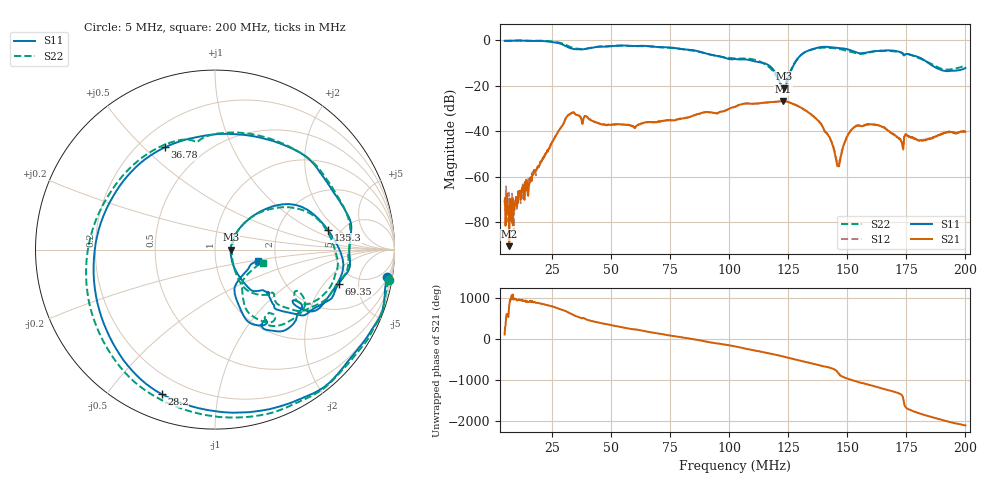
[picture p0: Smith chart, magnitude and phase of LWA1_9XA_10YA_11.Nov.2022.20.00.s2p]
!Keysight Technologies N9917A: A.12.46
!Date: Friday, 11 November 2022 20:00:22
!Timezone: (UTC) Coordinated Universal Time
!Model: N9917A
!Serial: MY56071016
!GPS Latitude:
!GPS Longitude:
!GPS TimeStamp: 0001-01-01 00:00:00Z
!GPS Seconds Since Last Read: 0
!CHECKSUM:1163544065
!Correction: S11(ON U)S21(ON U)S12(ON U)S22(ON U)
!S2P File: Measurements:S11,S21,S12,S22:
# Hz S DB R 50
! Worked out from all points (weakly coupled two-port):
!   1001 points, 5 MHz to 200 MHz, reference 50 ohm
!   highest |S21| = -26.82 dB at 123 MHz (marker M1); lowest = -90.6 dB at 6.95 MHz (marker M2)
!   lowest |S11| = -21.1 dB at 123.2 MHz (marker M3), VSWR 1.19, Z = 59.6 - j0.132 ohm
!   |S11| at or under -10 dB: 114.5 MHz to 127.8 MHz (13.25 MHz wide, 10.9 % of centre); 184.4 MHz to end of sweep
!   |S22| runs from -20.5 to -0.1 dB; largest |S21 - S12| = 0.00074
!   S11 on the Smith chart (normalised r, x): 5 MHz: 2, -12; 28.2 MHz: 0.11, -0.69; 36.78 MHz: 0.30, +0.58; 69.35 MHz: 3.68, -2.86; 135.3 MHz: 3.97, +1.46; 200 MHz: 1.61, -0.23
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5000000  -0.23 -9.2  -70.74 101.5  -72.51 -125.1  -0.14 -10.0
6950000  -0.22 -13.8  -90.62 94.8  -73.66 -157.1  -0.16 -14.2
2.0015e7  -0.19 -51.7  -53.85 137.9  -53.56 135.8  -0.15 -51.5
2.8205e7  -1.33 -110.3  -39.34 6.9  -39.30 7.0  -1.02 -109.8
3.2495e7  -3.32 -172.4  -32.62 -96.6  -32.57 -96.6  -2.79 -171.9
3.6785e7  -3.95 116.1  -33.39 154.4  -33.38 154.2  -3.76 115.8
3.7565e7  -3.96 105.3  -35.02 134.6  -35.10 134.8  -3.99 103.9
4.9265e7  -2.68 25.6  -37.16 -20.4  -37.07 -18.9  -2.61 26.9
6.935e7  -2.92 -15.4  -35.97 131.7  -36.07 131.8  -2.95 -14.9
7.013e7  -2.97 -16.8  -35.66 123.7  -35.68 124.5  -3.02 -16.0
1.025e8  -8.18 -39.8  -29.29 170.8  -29.30 170.8  -7.98 -36.8
1.16345e8  -10.71 -48.6  -27.34 7.4  -27.35 7.5  -11.31 -52.4
1.22975e8  -21.08 -6.4  -26.82 -76.8  -26.81 -77.0  -20.43 3.2
1.2317e8  -21.12 -0.7  -26.82 -79.6  -26.81 -79.8  -20.29 8.4
1.2902e8  -8.04 37.1  -28.90 -163.5  -28.93 -163.5  -8.08 35.4
1.35065e8  -3.96 10.7  -32.97 114.4  -32.87 114.9  -4.03 10.3
1.3526e8  -3.89 9.8  -33.15 111.7  -33.03 112.6  -3.98 9.5
1.4618e8  -3.38 -25.3  -55.42 -120.8  -55.53 -125.2  -3.77 -23.8
1.53395e8  -5.14 -34.8  -37.97 43.4  -38.12 42.9  -5.61 -31.4
1.6763e8  -4.42 -44.8  -39.94 177.9  -39.98 177.4  -4.66 -40.2
1.72895e8  -5.34 -56.2  -44.57 71.3  -44.32 72.0  -5.40 -52.5
2e8  -12.14 -15.5  -40.26 41.4  -40.21 41.8  -11.20 -15.8
